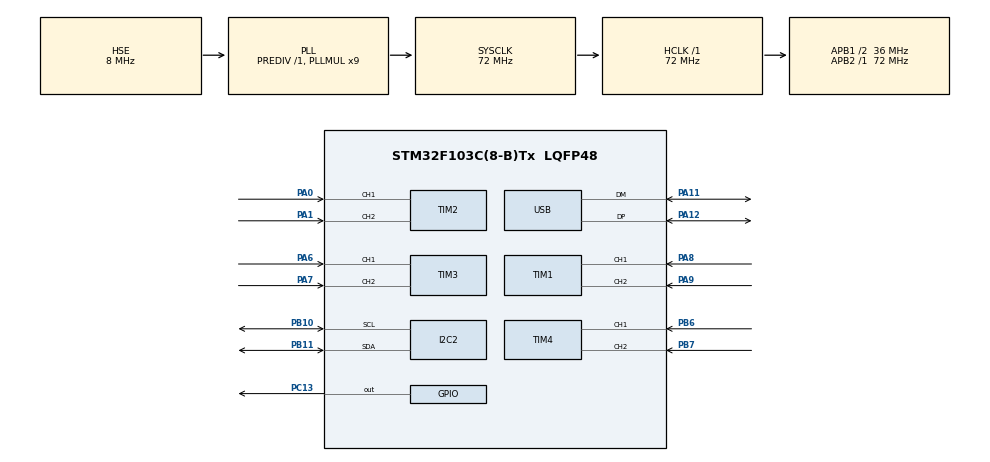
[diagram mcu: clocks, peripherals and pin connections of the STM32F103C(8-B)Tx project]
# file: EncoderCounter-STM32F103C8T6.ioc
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I2C2.I2C_Mode=I2C_Fast
I2C2.OwnAddress=0x30
Mcu.Family=STM32F1
Mcu.Name=STM32F103C(8-B)Tx
Mcu.Package=LQFP48
NVIC.I2C2_ER_IRQn=true\:0\:0\:false\:false\:true\:true\:true\:true
NVIC.I2C2_EV_IRQn=true\:0\:0\:false\:false\:true\:true\:true\:true
NVIC.PriorityGroup=NVIC_PRIORITYGROUP_4
NVIC.USB_LP_CAN1_RX0_IRQn=true\:0\:0\:false\:false\:true\:false\:true\:true
PA0-WKUP.Signal=S_TIM2_CH1_ETR
PA1.Signal=S_TIM2_CH2
PA11.Mode=Device
PA11.Signal=USB_DM
PA12.Mode=Device
PA12.Signal=USB_DP
PA13.Mode=Serial_Wire
PA13.Signal=SYS_JTMS-SWDIO
PA14.Mode=Serial_Wire
PA14.Signal=SYS_JTCK-SWCLK
PA6.Signal=S_TIM3_CH1
PA7.Signal=S_TIM3_CH2
PA8.Signal=S_TIM1_CH1
PA9.Signal=S_TIM1_CH2
PB10.Mode=I2C
PB10.Signal=I2C2_SCL
PB11.Mode=I2C
PB11.Signal=I2C2_SDA
PB6.Signal=S_TIM4_CH1
PB7.Signal=S_TIM4_CH2
PC13-TAMPER-RTC.GPIO_Speed=GPIO_SPEED_FREQ_HIGH
PC13-TAMPER-RTC.PinState=GPIO_PIN_SET
PC13-TAMPER-RTC.Signal=GPIO_Output
PD0-OSC_IN.Mode=HSE-External-Oscillator
PD0-OSC_IN.Signal=RCC_OSC_IN
PD1-OSC_OUT.Mode=HSE-External-Oscillator
PD1-OSC_OUT.Signal=RCC_OSC_OUT
ProjectManager.HeapSize=0x200
ProjectManager.StackSize=0x400
ProjectManager.TargetToolchain=CMake
RCC.AHBFreq_Value=72000000
RCC.APB1CLKDivider=RCC_HCLK_DIV2
RCC.APB1Freq_Value=36000000
RCC.APB1TimFreq_Value=72000000
RCC.APB2Freq_Value=72000000
RCC.APB2TimFreq_Value=72000000
RCC.HCLKFreq_Value=72000000
RCC.PLLMUL=RCC_PLL_MUL9
RCC.SYSCLKFreq_VALUE=72000000
RCC.SYSCLKSource=RCC_SYSCLKSOURCE_PLLCLK
RCC.USBFreq_Value=48000000
RCC.USBPrescaler=RCC_USBCLKSOURCE_PLL_DIV1_5
SH.S_TIM1_CH1.0=TIM1_CH1,Encoder_Interface
SH.S_TIM1_CH2.0=TIM1_CH2,Encoder_Interface
SH.S_TIM2_CH1_ETR.0=TIM2_CH1,Encoder_Interface
SH.S_TIM2_CH2.0=TIM2_CH2,Encoder_Interface
SH.S_TIM3_CH1.0=TIM3_CH1,Encoder_Interface
SH.S_TIM3_CH2.0=TIM3_CH2,Encoder_Interface
SH.S_TIM4_CH1.0=TIM4_CH1,Encoder_Interface
SH.S_TIM4_CH2.0=TIM4_CH2,Encoder_Interface
TIM1.EncoderMode=TIM_ENCODERMODE_TI12
TIM1.IC1Filter=10
TIM1.IC1Polarity=TIM_ICPOLARITY_RISING
TIM1.IC2Filter=10
TIM1.IC2Polarity=TIM_ICPOLARITY_RISING
TIM2.EncoderMode=TIM_ENCODERMODE_TI12
TIM2.IC1Filter=10
TIM2.IC1Polarity=TIM_ICPOLARITY_RISING
TIM2.IC2Filter=10
TIM2.IC2Polarity=TIM_ICPOLARITY_RISING
TIM3.EncoderMode=TIM_ENCODERMODE_TI12
TIM3.IC1Filter=10
TIM3.IC1Polarity=TIM_ICPOLARITY_RISING
TIM3.IC2Filter=10
TIM3.IC2Polarity=TIM_ICPOLARITY_RISING
TIM4.EncoderMode=TIM_ENCODERMODE_TI12
TIM4.IC1Filter=10
TIM4.IC1Polarity=TIM_ICPOLARITY_RISING
TIM4.IC2Filter=10
TIM4.IC2Polarity=TIM_ICPOLARITY_RISING
USB_DEVICE.CLASS_NAME_FS=CDC
USB_DEVICE.VirtualMode=Cdc
USB_DEVICE.VirtualModeFS=Cdc_FS
VP_USB_DEVICE_VS_USB_DEVICE_CDC_FS.Mode=CDC_FS
board=custom

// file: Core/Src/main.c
/* USER CODE BEGIN Header */
/**
  ******************************************************************************
  * @file           : main.c
  * @brief          : Main program body
  ******************************************************************************
  * @attention
  *
  * Copyright (c) 2026 STMicroelectronics.
  * All rights reserved.
  *
  * This software is licensed under terms that can be found in the LICENSE file
  * in the root directory of this software component.
  * If no LICENSE file comes with this software, it is provided AS-IS.
  *
  ******************************************************************************
  */
/* USER CODE END Header */
#include "main.h"
#include "i2c.h"
#include "tim.h"
#include "usb_device.h"
#include "gpio.h"

/* USER CODE BEGIN Includes */
#include <stdarg.h>
#include <string.h>
#include <stdbool.h>
#include <usbd_cdc_if.h>
/* USER CODE END Includes */

/* USER CODE BEGIN PV */
int16_t motor_pulses[4] = {0}; // 用于存储四个电机的脉冲计数值
static int16_t pulse_snapshot[4] = {0}; // I2C 发送专用快照

volatile bool i2c_error_flag = false; // I2C 错误标志，用于在错误回调中设置，在主循环中检查并处理
/* USER CODE END PV */

void SystemClock_Config(void);

/* USER CODE BEGIN 0 */
void usb_printf(const char *fmt, ...) {
    char buf[256];
    va_list args;
    va_start(args, fmt);
    int len = vsnprintf(buf, sizeof(buf), fmt, args);
    va_end(args);

    if (len > 0) {
        CDC_Transmit_FS((uint8_t *) buf, (uint16_t) len);
    }
}
/* USER CODE END 0 */

int main(void) {

    /* MCU Configuration--------------------------------------------------------*/

    /* Reset of all peripherals, Initializes the Flash interface and the Systick. */
    HAL_Init();

    /* Configure the system clock */
    SystemClock_Config();

    /* Initialize all configured peripherals */
    MX_GPIO_Init();
    MX_TIM1_Init();
    MX_TIM2_Init();
    MX_TIM3_Init();
    MX_TIM4_Init();
    MX_I2C2_Init();
    MX_USB_DEVICE_Init();
    /* USER CODE BEGIN 2 */
    // 启动 4 个硬件编码器
    HAL_TIM_Encoder_Start(&htim1, TIM_CHANNEL_ALL);
    HAL_TIM_Encoder_Start(&htim2, TIM_CHANNEL_ALL);
    HAL_TIM_Encoder_Start(&htim3, TIM_CHANNEL_ALL);
    HAL_TIM_Encoder_Start(&htim4, TIM_CHANNEL_ALL);

    // 开启 I2C 从机监听中断
    HAL_I2C_EnableListen_IT(&hi2c2);
    /* USER CODE END 2 */

    /* Infinite loop */
    while (1) {

        /* USER CODE BEGIN 3 */
        if (i2c_error_flag) {
            i2c_error_flag = false;
            HAL_I2C_DeInit(&hi2c2);
            MX_I2C2_Init();
            HAL_I2C_EnableListen_IT(&hi2c2);
            HAL_GPIO_WritePin(GPIOC, GPIO_PIN_13, GPIO_PIN_SET); // 恢复后灭灯
        }
        __WFI(); // 无事可做时低功耗等待，中断来了自动唤醒
    }
    /* USER CODE END 3 */
}

void SystemClock_Config(void) {
    RCC_OscInitTypeDef RCC_OscInitStruct = {0};
    RCC_ClkInitTypeDef RCC_ClkInitStruct = {0};
    RCC_PeriphCLKInitTypeDef PeriphClkInit = {0};

    /** Initializes the RCC Oscillators according to the specified parameters
    * in the RCC_OscInitTypeDef structure.
    */
    RCC_OscInitStruct.OscillatorType = RCC_OSCILLATORTYPE_HSE;
    RCC_OscInitStruct.HSEState = RCC_HSE_ON;
    RCC_OscInitStruct.HSEPredivValue = RCC_HSE_PREDIV_DIV1;
    RCC_OscInitStruct.HSIState = RCC_HSI_ON;
    RCC_OscInitStruct.PLL.PLLState = RCC_PLL_ON;
    RCC_OscInitStruct.PLL.PLLSource = RCC_PLLSOURCE_HSE;
    RCC_OscInitStruct.PLL.PLLMUL = RCC_PLL_MUL9;
    if (HAL_RCC_OscConfig(&RCC_OscInitStruct) != HAL_OK) {
        Error_Handler();
    }

    /** Initializes the CPU, AHB and APB buses clocks
    */
    RCC_ClkInitStruct.ClockType = RCC_CLOCKTYPE_HCLK | RCC_CLOCKTYPE_SYSCLK
                                  | RCC_CLOCKTYPE_PCLK1 | RCC_CLOCKTYPE_PCLK2;
    RCC_ClkInitStruct.SYSCLKSource = RCC_SYSCLKSOURCE_PLLCLK;
    RCC_ClkInitStruct.AHBCLKDivider = RCC_SYSCLK_DIV1;
    RCC_ClkInitStruct.APB1CLKDivider = RCC_HCLK_DIV2;
    RCC_ClkInitStruct.APB2CLKDivider = RCC_HCLK_DIV1;

    if (HAL_RCC_ClockConfig(&RCC_ClkInitStruct, FLASH_LATENCY_2) != HAL_OK) {
        Error_Handler();
    }
    PeriphClkInit.PeriphClockSelection = RCC_PERIPHCLK_USB;
    PeriphClkInit.UsbClockSelection = RCC_USBCLKSOURCE_PLL_DIV1_5;
    if (HAL_RCCEx_PeriphCLKConfig(&PeriphClkInit) != HAL_OK) {
        Error_Handler();
    }
}

/* USER CODE BEGIN 4 */

/**
 * @brief I2C 地址匹配回调函数，当主机访问从机时触发
 * @param hi2c
 * @param TransferDirection
 * @param AddrMatchCode
 */
void HAL_I2C_AddrCallback(I2C_HandleTypeDef *hi2c, uint8_t TransferDirection, uint16_t AddrMatchCode) {
    if (hi2c->Instance == I2C2) {
        if (TransferDirection == I2C_DIRECTION_RECEIVE) {
            // 抓取脉冲数据
            motor_pulses[0] = (int16_t) __HAL_TIM_GET_COUNTER(&htim1);
            motor_pulses[1] = (int16_t) __HAL_TIM_GET_COUNTER(&htim2);
            motor_pulses[2] = (int16_t) __HAL_TIM_GET_COUNTER(&htim3);
            motor_pulses[3] = (int16_t) __HAL_TIM_GET_COUNTER(&htim4);

            memcpy(pulse_snapshot, motor_pulses, sizeof(pulse_snapshot));
            if (HAL_I2C_Slave_Seq_Transmit_IT(hi2c, (uint8_t *) pulse_snapshot, sizeof(pulse_snapshot),
                                              I2C_FIRST_AND_LAST_FRAME) != HAL_OK) {
                // 发送失败，主机会收到 NACK，下次轮询自然重试，无需额外处理
                // 但如果需要统计丢包率，可在此处加计数器
            }
        }
    }
}

/**
 * @brief I2C 监听完成回调函数，当一次完整的通信结束后触发
 * @param hi2c
 */
void HAL_I2C_ListenCpltCallback(I2C_HandleTypeDef *hi2c) {
    // 监听完成后继续开启监听
    HAL_I2C_EnableListen_IT(hi2c);
}

/**
 * @brief I2C 错误回调函数，当通信过程中发生错误时触发
 * @param hi2c
 */
void HAL_I2C_ErrorCallback(I2C_HandleTypeDef *hi2c) {
    HAL_GPIO_WritePin(GPIOC, GPIO_PIN_13, GPIO_PIN_RESET); // 低电平，LED亮，报错
    i2c_error_flag = true; // 设置错误标志，在主循环中可以检查并处理
}

/* USER CODE END 4 */

void Error_Handler(void) {
    __disable_irq();
    while (1) {
    }
}
